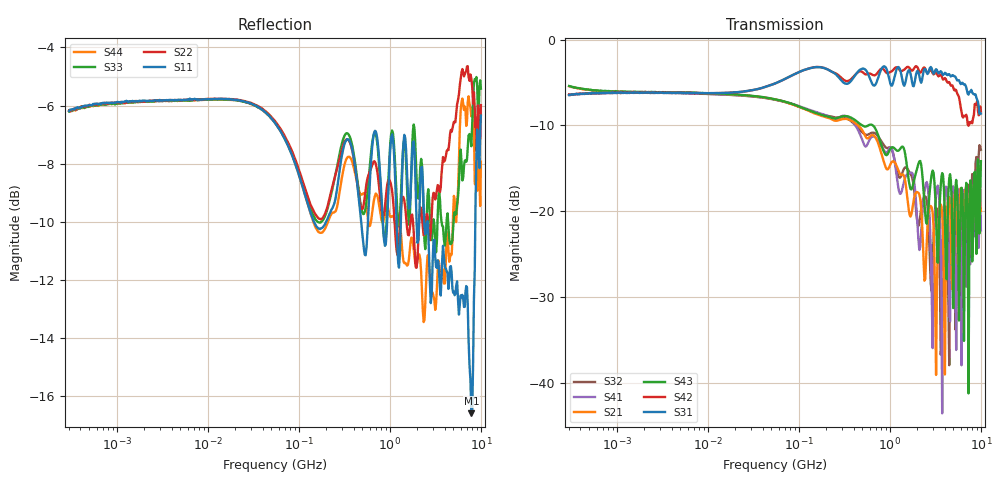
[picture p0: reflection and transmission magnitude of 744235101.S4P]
! This data is being provided by Wuerth Elektronik eiSos GmbH & Co. KG to the industry for analysis.
! Document information:
! Version:rev19a Date: 16/12/2019
! Component information:
! Match Code: WE-CNSW P/N: 744235101 Size: 1812
! Disclaimer:  While Würth Elektronik eiSos has made every reasonable effort to ensure the accuracy
! of the information provided, Würth Elektronik eiSos does not guarantee the exemption of error on the
! data collection measurements, nor does Würth Elektronik eiSos guarantee that the information is current.
! Würth Elektronik eiSos reserves the right to make any adjustments at any time without notice.
! Würth Elektronik eiSos expressly disclaims all implied warranties regarding this measurement data collection.
! Note 1  This data measurement is representative according to the product implementation into the fixture.
! Component behavior is sensitive to implementation into the fixture, which includes board
! materials, trace geometry information, connector pin out, layer connection, use of de-embedding
! techniques, etc.
! Note 2 - The fixture was designed specifically to match the 50 Ohm line impedance, as well as the connector impedance,
! in order to accomplish a reliable measurement without reflections in the trace. Any other implementation of the fixture will change the obtained
! measurement performance. The used fixture behavior was de-embedded to accomplish reliable measurement results.
! The test setup consisted of the following:
!  - Agilent VNA E5071C or E5071B
!  - Calibrations are SOLT (short open load thru)
!  - De-embedding of the SMA's or line cards were included
!  - Equipment Settings -
!  - Sampling - 501 points
!  - IF BW  70 kHz
!  - Averaging  Not used
!  Port 1----->|1|  |2| -----> Port 3
!  |  DUT  |
!  Port 2----->|3|  |4| -----> Port 4
!*VNA Port --> |Port in Datasheet|
! |Port in Datasheet| --> VNA Port
! For further information regarding this testing, please contact
! Wuerth Elektronik eiSos
! Contact: EDA team in QDC
! Email: libraries@we-online.com or libraries@we-online.de
# Hz S dB R 50
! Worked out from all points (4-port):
!   501 points, 300 kHz to 10 GHz, reference 50 ohm
!   strongest paths, dB at 300 kHz, 4.054 MHz, 54.77 MHz, 740.1 MHz, 10 GHz:
!     S31: -6.5, -6.2, -5.1, -4.5, -8.6
!     S42: -6.4, -6.2, -5.1, -3.8, -8.4
!     S43: -5.4, -6.2, -7.0, -11.1, -14.2
!     S21: -5.4, -6.2, -7.0, -12.0, -20.0
!     S41: -6.5, -6.2, -7.0, -11.7, -22.3
!     S32: -6.4, -6.2, -7.0, -11.3, -12.8
!   lowest |S11| = -16.6 dB at 7.853 GHz (marker M1), VSWR 1.35, Z = 45 - j13.3 ohm
!   |S11| at or under -10 dB: 1.187 GHz to 1.321 GHz (134 MHz wide, 10.7 % of centre); 2.39 GHz to 2.58 GHz (190.1 MHz wide, 7.65 % of centre); 2.599 GHz to 8.688 GHz (6.089 GHz wide, 108 % of centre)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
300000  -6.19 13.4  -5.45 -12.4  -6.42 13.4  -6.44 -166.6
        -5.44 -12.4  -6.17 13.4  -6.42 -166.9  -6.45 13.7
        -6.46 13.4  -6.42 -166.7  -6.20 13.4  -5.46 -12.3
        -6.47 -166.8  -6.42 13.7  -5.42 -12.4  -6.20 13.3
4.923843e8  -10.24 -29.4  -10.48 84.8  -3.41 -6.9  -11.55 -87.0
            -10.48 84.8  -9.56 -21.3  -10.76 -88.4  -3.75 -6.6
            -3.42 -6.9  -10.77 -88.3  -9.61 -21.7  -9.98 93.0
            -11.56 -87.1  -3.75 -6.6  -9.98 92.9  -9.06 -26.1
8.470317e8  -10.25 -38.0  -13.99 -93.4  -3.16 -12.3  -12.75 88.8
            -14.01 -93.5  -9.80 -30.1  -12.22 89.9  -3.44 -13.6
            -3.15 -12.3  -12.21 90.1  -10.32 -32.3  -12.89 -82.4
            -12.78 88.8  -3.44 -13.6  -12.91 -82.3  -10.01 -32.4
3.219394e9  -11.55 -73.5  -38.04 156.3  -3.46 -56.9  -18.16 23.3
            -39.10 159.9  -9.10 -39.3  -19.71 36.5  -3.86 -64.0
            -3.45 -57.0  -19.72 36.0  -11.05 -57.1  -20.78 -79.0
            -18.17 23.9  -3.85 -63.9  -20.67 -78.8  -12.81 -40.7
3.622652e9  -12.53 -69.7  -19.20 6.7  -3.69 -65.5  -24.12 -78.0
            -19.22 7.1  -8.82 -41.8  -36.15 -98.7  -4.10 -72.3
            -3.69 -65.6  -36.73 -100.1  -9.75 -63.8  -17.04 40.7
            -23.95 -78.1  -4.10 -72.3  -17.02 41.1  -12.09 -43.6
7.853338e9  -16.58 -102.5  -18.08 -84.8  -5.88 -151.5  -22.37 -65.5
            -18.11 -85.2  -5.07 -136.3  -18.41 -28.5  -9.58 -134.5
            -5.87 -151.7  -18.41 -28.5  -7.40 -123.6  -17.32 -87.6
            -22.40 -65.7  -9.58 -134.5  -17.36 -87.5  -6.37 -116.1
1e10  -6.34 -115.5  -19.97 -126.7  -8.64 152.8  -22.24 -177.2
      -19.98 -127.3  -5.99 178.1  -12.83 -102.7  -8.40 160.2
      -8.64 152.7  -12.85 -102.4  -5.42 179.0  -14.24 -103.1
      -22.26 -177.5  -8.40 160.6  -14.18 -103.0  -7.93 -114.4
